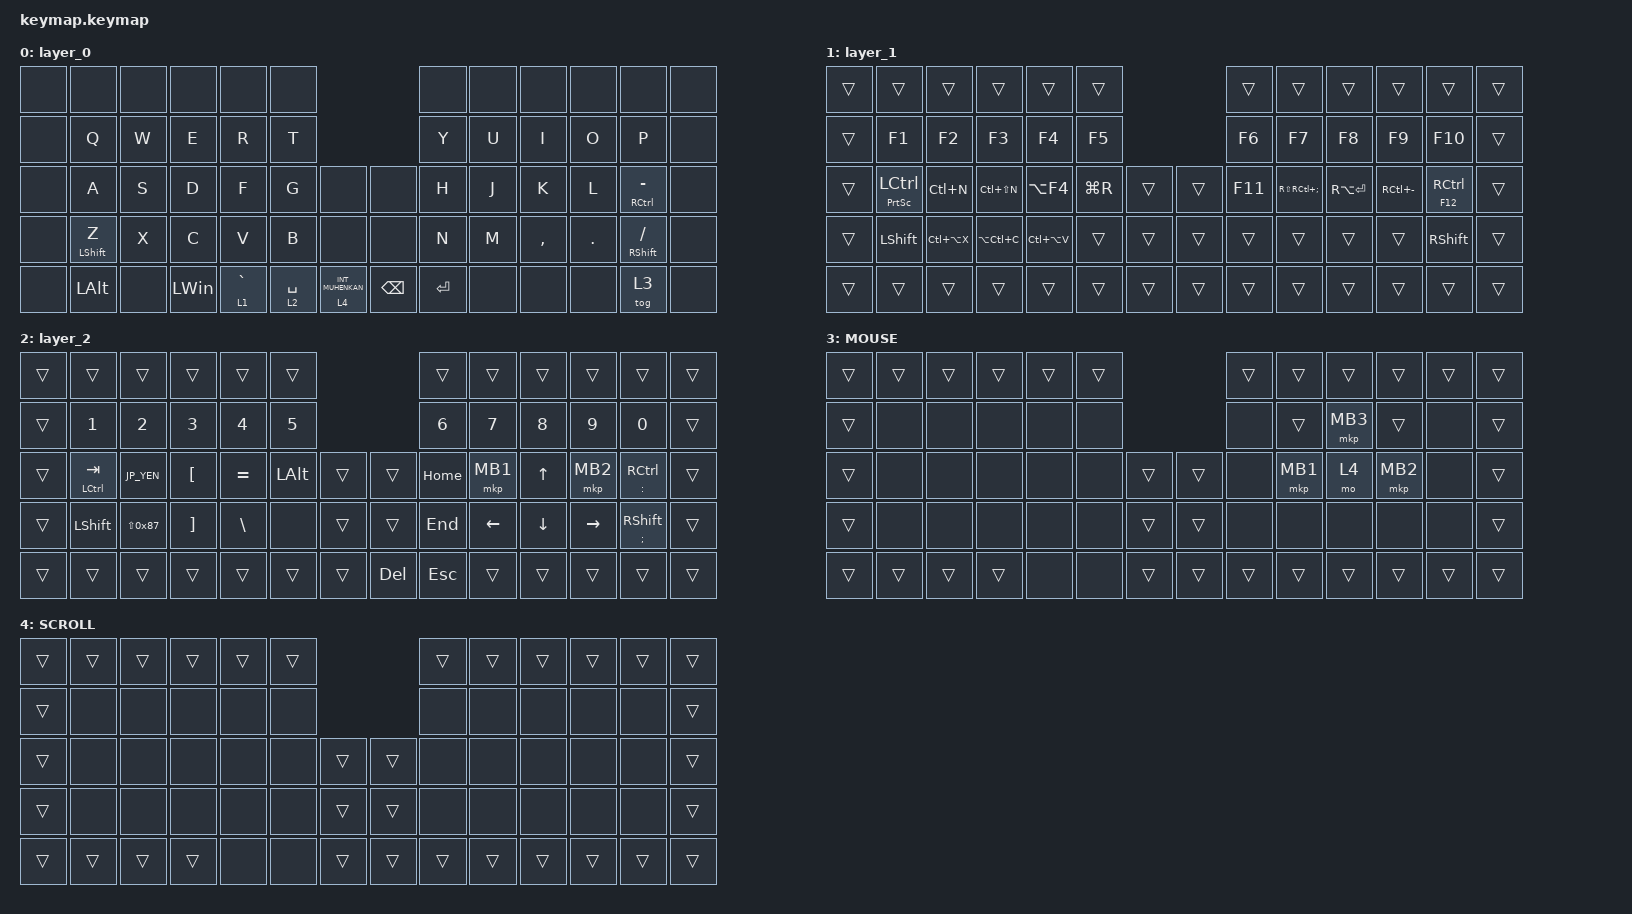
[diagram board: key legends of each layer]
#include <input/processors.dtsi>
#include <dt-bindings/zmk/input_transform.h>
#include <zephyr/dt-bindings/input/input-event-codes.h>
#include <behaviors.dtsi>
#include <dt-bindings/zmk/bt.h>
#include <dt-bindings/zmk/keys.h>
#include <dt-bindings/zmk/pointing.h>

// #define ZMK_POINTING_DEFAULT_SCRL_VAL 100

#define MOUSE 3
#define SCROLL 4

// OS設定を日本語キーボードのまま使用するための変換定義

#define JP_DQUOTE       AT                // "
#define JP_AMPERSAND    CARET             // &
#define JP_QUOTE        AMPERSAND         // '
#define JP_EQUAL        UNDER             // =
#define JP_CARET        EQUAL             // ^
#define JP_YEN          0x89              // ¥
#define JP_PLUS         COLON             // +
#define JP_TILDE        PLUS              // ~
#define JP_PIPE         LS(0x89)          // |
#define JP_AT           LEFT_BRACKET      // @
#define JP_COLON        SINGLE_QUOTE      // :
#define JP_ASTERISK     DOUBLE_QUOTES     // *
#define JP_BACKQUOTE    LEFT_BRACE        // `
#define JP_UNDERSCORE   LS(0x87)          // _
#define JP_LBRACKET     RIGHT_BRACKET     // [
#define JP_RBRACKET     BACKSLASH         // ]
#define JP_LPAREN       ASTERISK          // (
#define JP_RPAREN       LEFT_PARENTHESIS  // )
#define JP_LBRACE       RIGHT_BRACE       // {
#define JP_RBRACE       PIPE              // }
#define JP_KANA         LANGUAGE_1        // かな
#define JP_EISU         LANGUAGE_2        // 英数
#define JP_HANZEN       GRAVE             // 半角/全角

&mt {
    flavor = "balanced";
    quick-tap-ms = <60>;
};

&lt {
    quick-tap-ms = <60>;
    flavor = "balanced";
};

/ {
    combos {
        compatible = "zmk,combos";

        bt_clear {
            bindings = <&bt BT_CLR>;
            key-positions = <28 29>;
            layers = <2>;
        };
    };

    macros {
        to_layer_0: to_layer_0 {
            compatible = "zmk,behavior-macro-one-param";
            #binding-cells = <1>;
            bindings = <&to 0 &macro_param_1to1 &kp MACRO_PLACEHOLDER>;
            label = "TO_LAYER_0";
        };
    };

    behaviors {
        lt_to_layer_0: lt_to_layer_0 {
            compatible = "zmk,behavior-hold-tap";
            label = "LAYER_TAP_TO_0";
            bindings = <&mo>, <&to_layer_0>;

            #binding-cells = <2>;
            tapping-term-ms = <60>;
        };
    };

    keymap {
        compatible = "zmk,keymap";

        layer_0 {
            bindings = <
&none  &none             &none  &none         &none            &none                                           &none      &none  &none      &none    &none                 &none
&none  &kp Q             &kp W  &kp E         &kp R            &kp T                                           &kp Y      &kp U  &kp I      &kp O    &kp P                 &none
&none  &kp A             &kp S  &kp D         &kp F            &kp G        &none               &none          &kp H      &kp J  &kp K      &kp L    &mt RCTRL MINUS       &none
&none  &mt LEFT_SHIFT Z  &kp X  &kp C         &kp V            &kp B        &none               &none          &kp N      &kp M  &kp COMMA  &kp DOT  &mt RIGHT_SHIFT FSLH  &none
&none  &kp LEFT_ALT      &none  &kp LEFT_WIN  &lt 1 JP_HANZEN  &lt 2 SPACE  &lt 4 INT_MUHENKAN  &kp BACKSPACE  &kp ENTER  &none  &none      &none    &tog 3                &none
            >;
        };

        layer_1 {
            bindings = <
&trans  &trans                 &trans         &trans         &trans         &trans                     &trans   &trans                 &trans         &trans         &trans           &trans
&trans  &kp F1                 &kp F2         &kp F3         &kp F4         &kp F5                     &kp F6   &kp F7                 &kp F8         &kp F9         &kp F10          &trans
&trans  &mt PRINTSCREEN LCTRL  &kp LC(N)      &kp LC(LS(N))  &kp LA(F4)     &kp LG(R)  &trans  &trans  &kp F11  &kp RS(RC(SEMICOLON))  &kp RA(ENTER)  &kp RC(MINUS)  &mt F12 RCTRL    &trans
&trans  &kp LEFT_SHIFT         &kp LC(LA(X))  &kp LA(LC(C))  &kp LC(LA(V))  &trans     &trans  &trans  &trans   &trans                 &trans         &trans         &kp RIGHT_SHIFT  &trans
&trans  &trans                 &trans         &trans         &trans         &trans     &trans  &trans  &trans   &trans                 &trans         &trans         &trans           &trans
            >;
        };

        layer_2 {
            bindings = <
&trans  &trans          &trans             &trans           &trans           &trans                            &trans    &trans          &trans          &trans           &trans                     &trans
&trans  &kp NUMBER_1    &kp NUMBER_2       &kp NUMBER_3     &kp NUMBER_4     &kp N5                            &kp N6    &kp N7          &kp N8          &kp N9           &kp N0                     &trans
&trans  &mt LCTRL TAB   &kp JP_YEN         &kp JP_AT        &kp JP_CARET     &kp LEFT_ALT  &trans  &trans      &kp HOME  &mkp MB1        &kp UP_ARROW    &mkp MB2         &mt COLON RCTRL            &trans
&trans  &kp LEFT_SHIFT  &kp JP_UNDERSCORE  &kp JP_LBRACKET  &kp JP_RBRACKET  &none         &trans  &trans      &kp END   &kp LEFT_ARROW  &kp DOWN_ARROW  &kp RIGHT_ARROW  &mt SEMICOLON RIGHT_SHIFT  &trans
&trans  &trans          &trans             &trans           &trans           &trans        &trans  &kp DELETE  &kp ESC   &trans          &trans          &trans           &trans                     &trans
            >;
        };

        MOUSE {
            bindings = <
&trans  &trans  &trans  &trans  &trans  &trans                  &trans  &trans    &trans    &trans    &trans  &trans
&trans  &none   &none   &none   &none   &none                   &none   &trans    &mkp MB3  &trans    &none   &trans
&trans  &none   &none   &none   &none   &none   &trans  &trans  &none   &mkp MB1  &mo 4     &mkp MB2  &none   &trans
&trans  &none   &none   &none   &none   &none   &trans  &trans  &none   &none     &none     &none     &none   &trans
&trans  &trans  &trans  &trans  &none   &none   &trans  &trans  &trans  &trans    &trans    &trans    &trans  &trans
            >;
        };

        SCROLL {
            bindings = <
&trans  &trans  &trans  &trans  &trans  &trans                  &trans  &trans  &trans  &trans  &trans  &trans
&trans  &none   &none   &none   &none   &none                   &none   &none   &none   &none   &none   &trans
&trans  &none   &none   &none   &none   &none   &trans  &trans  &none   &none   &none   &none   &none   &trans
&trans  &none   &none   &none   &none   &none   &trans  &trans  &none   &none   &none   &none   &none   &trans
&trans  &trans  &trans  &trans  &none   &none   &trans  &trans  &trans  &trans  &trans  &trans  &trans  &trans
            >;
        };
    };
};
